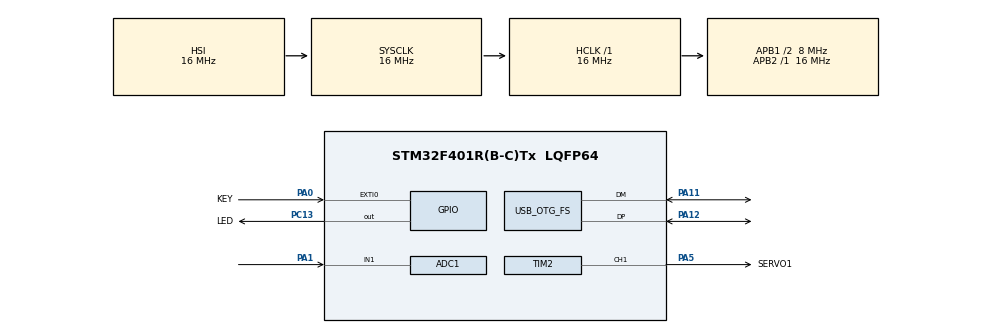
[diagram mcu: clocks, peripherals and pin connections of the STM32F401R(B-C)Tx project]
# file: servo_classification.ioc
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ADC1.Channel-1\#ChannelRegularConversion=ADC_CHANNEL_1
ADC1.ContinuousConvMode=ENABLE
ADC1.DMAContinuousRequests=ENABLE
ADC1.EOCSelection=ADC_EOC_SEQ_CONV
ADC1.InjNumberOfConversion=0
ADC1.NbrOfConversion=1
ADC1.NbrOfConversionFlag=1
ADC1.Rank-1\#ChannelRegularConversion=1
ADC1.SamplingTime-1\#ChannelRegularConversion=ADC_SAMPLETIME_15CYCLES
ADC1.ScanConvMode=DISABLE
ADC1.master=1
Dma.ADC1.0.Direction=DMA_PERIPH_TO_MEMORY
Dma.ADC1.0.FIFOMode=DMA_FIFOMODE_DISABLE
Dma.ADC1.0.Instance=DMA2_Stream0
Dma.ADC1.0.MemDataAlignment=DMA_MDATAALIGN_HALFWORD
Dma.ADC1.0.MemInc=DMA_MINC_ENABLE
Dma.ADC1.0.Mode=DMA_CIRCULAR
Dma.ADC1.0.PeriphDataAlignment=DMA_PDATAALIGN_HALFWORD
Dma.ADC1.0.PeriphInc=DMA_PINC_DISABLE
Dma.ADC1.0.Priority=DMA_PRIORITY_LOW
Dma.Request0=ADC1
Mcu.Family=STM32F4
Mcu.Name=STM32F401R(B-C)Tx
Mcu.Package=LQFP64
NVIC.ADC_IRQn=true\:0\:0\:false\:false\:true\:true\:true\:true
NVIC.DMA2_Stream0_IRQn=true\:0\:0\:false\:false\:true\:false\:true\:true
NVIC.EXTI0_IRQn=true\:0\:0\:false\:false\:true\:true\:true\:true
NVIC.OTG_FS_IRQn=true\:0\:0\:false\:false\:true\:false\:true\:true
NVIC.PriorityGroup=NVIC_PRIORITYGROUP_4
PA0-WKUP.GPIO_Label=KEY
PA0-WKUP.Signal=GPXTI0
PA1.Signal=ADCx_IN1
PA11.Mode=Device_Only
PA11.Signal=USB_OTG_FS_DM
PA12.Mode=Device_Only
PA12.Signal=USB_OTG_FS_DP
PA5.GPIO_Label=SERVO1
PA5.GPIO_Speed=GPIO_SPEED_FREQ_HIGH
PA5.Signal=S_TIM2_CH1_ETR
PC13-ANTI_TAMP.GPIO_Label=LED
PC13-ANTI_TAMP.PinState=GPIO_PIN_SET
PC13-ANTI_TAMP.Signal=GPIO_Output
PH0\ -\ OSC_IN.Mode=HSE-External-Oscillator
PH0\ -\ OSC_IN.Signal=RCC_OSC_IN
PH1\ -\ OSC_OUT.Mode=HSE-External-Oscillator
PH1\ -\ OSC_OUT.Signal=RCC_OSC_OUT
ProjectManager.HeapSize=0x200
ProjectManager.StackSize=0x400
ProjectManager.TargetToolchain=CMake
RCC.48MHZClocksFreq_Value=48000000
RCC.AHBFreq_Value=16000000
RCC.APB1CLKDivider=RCC_HCLK_DIV2
RCC.APB1Freq_Value=8000000
RCC.APB1TimFreq_Value=16000000
RCC.APB2Freq_Value=16000000
RCC.APB2TimFreq_Value=16000000
RCC.CortexFreq_Value=16000000
RCC.HCLKFreq_Value=16000000
RCC.HSE_VALUE=25000000
RCC.HSI_VALUE=16000000
RCC.LSE_VALUE=32768
RCC.PLLM=15
RCC.PLLN=144
RCC.PLLP=RCC_PLLP_DIV4
RCC.PLLQ=5
RCC.SYSCLKFreq_VALUE=16000000
RCC.VCOOutputFreq_Value=240000000
SH.ADCx_IN1.0=ADC1_IN1,IN1
SH.S_TIM2_CH1_ETR.0=TIM2_CH1,PWM Generation1 CH1
TIM2.AutoReloadPreload=TIM_AUTORELOAD_PRELOAD_ENABLE
TIM2.Channel-PWM\ Generation1\ CH1=TIM_CHANNEL_1
TIM2.Period=39999
TIM2.Pulse-PWM\ Generation1\ CH1=15999
USB_DEVICE.CLASS_NAME_FS=CDC
USB_DEVICE.VirtualMode=Cdc
USB_DEVICE.VirtualModeFS=Cdc_FS
USB_OTG_FS.Sof_enable=ENABLE
USB_OTG_FS.VirtualMode=Device_Only
VP_TIM2_VS_ClockSourceINT.Mode=Internal
VP_USB_DEVICE_VS_USB_DEVICE_CDC_FS.Mode=CDC_FS
board=custom

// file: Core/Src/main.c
/* USER CODE BEGIN Header */
/**
  ******************************************************************************
  * @file           : main.c
  * @brief          : Main program body
  ******************************************************************************
  * @attention
  *
  * Copyright (c) 2026 STMicroelectronics.
  * All rights reserved.
  *
  * This software is licensed under terms that can be found in the LICENSE file
  * in the root directory of this software component.
  * If no LICENSE file comes with this software, it is provided AS-IS.
  *
  ******************************************************************************
  */
/* USER CODE END Header */
#include "main.h"
#include "usb_device.h"

/* USER CODE BEGIN Includes */
#include "usbd_cdc_if.h"
#include <string.h>
/* USER CODE END Includes */

/* USER CODE BEGIN PM */
volatile uint8_t txBuf[1024];
volatile uint8_t rxBuf[1024];
volatile servo_t servo1;

volatile uint16_t ADC_VAL1[32];
volatile float Vin = 0;
/* USER CODE END PM */

ADC_HandleTypeDef hadc1;
DMA_HandleTypeDef hdma_adc1;

TIM_HandleTypeDef htim2;

/* USER CODE BEGIN PV */
static uint8_t msg[128];
/* USER CODE END PV */

void SystemClock_Config(void);
static void MX_GPIO_Init(void);
static void MX_DMA_Init(void);
static void MX_TIM2_Init(void);
static void MX_ADC1_Init(void);

int main(void)
{

  /* MCU Configuration--------------------------------------------------------*/

  /* Reset of all peripherals, Initializes the Flash interface and the Systick. */
  HAL_Init();

  /* Configure the system clock */
  SystemClock_Config();

  /* Initialize all configured peripherals */
  MX_GPIO_Init();
  MX_DMA_Init();
  MX_TIM2_Init();
  MX_USB_DEVICE_Init();
  MX_ADC1_Init();
  /* USER CODE BEGIN 2 */
  SERVO_Init(&servo1, &(TIM2->CCR1), SERVO_POLARITY_POS);
  SERVO_setpulse(&servo1, 0);

  HAL_ADC_Start_DMA(&hadc1, &ADC_VAL1, 32);

  HAL_TIM_PWM_Start(&htim2, TIM_CHANNEL_1);
  /* USER CODE END 2 */

  /* Infinite loop */
  /* USER CODE BEGIN WHILE */
  while (1)
  {
    if (rxBuf[0] != 0x00) {
      char c = rxBuf[0];
      rxBuf[0] = 0x00;
      switch (c) {
        case 'w':
          SERVO_setpulse(&servo1, servo1.pulse + 0.05);
          break;
        case 's':
          SERVO_setpulse(&servo1, servo1.pulse - 0.05);
          break;
        case 'u':
          SERVO_setpulse(&servo1, 0);
          memset(msg, 0x00, sizeof(msg));
          snprintf(msg, sizeof(msg), "\r\nStarting Step\r\n\04");
          CDC_Transmit_FS(msg, sizeof(msg));
          HAL_Delay(2000);
          SERVO_setpulse(&servo1, 0.6);
          HAL_GPIO_WritePin(LED_GPIO_Port, LED_Pin, 0);
          HAL_Delay(5000);
          HAL_GPIO_WritePin(LED_GPIO_Port, LED_Pin, 1);
          SERVO_setpulse(&servo1, -0.6);
          HAL_Delay(5000);
          SERVO_setpulse(&servo1, 0);
        default:
          break;
      }
      Vin = (ADC_VAL1[sizeof(ADC_VAL1)/sizeof(uint16_t) - __HAL_DMA_GET_COUNTER(&hdma_adc1)]/4096.0) * 8.25;
      snprintf(msg, sizeof(msg), "S1 PULSE ms: % 0.2f\tWIDTH ms: %.2f\t\tPOL: %d\t\tVin V: %.3f\t\t CCR: %d\r\n\04",
                                 servo1.pulse, servo1.width, servo1.polarity, Vin, *(servo1.timCCR));
      CDC_Transmit_FS(msg, sizeof(msg));
    }
    HAL_Delay(1);
    /* USER CODE END WHILE */

  }
}

void SystemClock_Config(void)
{
  RCC_OscInitTypeDef RCC_OscInitStruct = {0};
  RCC_ClkInitTypeDef RCC_ClkInitStruct = {0};

  /** Configure the main internal regulator output voltage
  */
  __HAL_RCC_PWR_CLK_ENABLE();
  __HAL_PWR_VOLTAGESCALING_CONFIG(PWR_REGULATOR_VOLTAGE_SCALE2);

  /** Initializes the RCC Oscillators according to the specified parameters
  * in the RCC_OscInitTypeDef structure.
  */
  RCC_OscInitStruct.OscillatorType = RCC_OSCILLATORTYPE_HSI|RCC_OSCILLATORTYPE_HSE;
  RCC_OscInitStruct.HSEState = RCC_HSE_ON;
  RCC_OscInitStruct.HSIState = RCC_HSI_ON;
  RCC_OscInitStruct.HSICalibrationValue = RCC_HSICALIBRATION_DEFAULT;
  RCC_OscInitStruct.PLL.PLLState = RCC_PLL_ON;
  RCC_OscInitStruct.PLL.PLLSource = RCC_PLLSOURCE_HSE;
  RCC_OscInitStruct.PLL.PLLM = 15;
  RCC_OscInitStruct.PLL.PLLN = 144;
  RCC_OscInitStruct.PLL.PLLP = RCC_PLLP_DIV4;
  RCC_OscInitStruct.PLL.PLLQ = 5;
  if (HAL_RCC_OscConfig(&RCC_OscInitStruct) != HAL_OK)
  {
    Error_Handler();
  }

  /** Initializes the CPU, AHB and APB buses clocks
  */
  RCC_ClkInitStruct.ClockType = RCC_CLOCKTYPE_HCLK|RCC_CLOCKTYPE_SYSCLK
                              |RCC_CLOCKTYPE_PCLK1|RCC_CLOCKTYPE_PCLK2;
  RCC_ClkInitStruct.SYSCLKSource = RCC_SYSCLKSOURCE_HSI;
  RCC_ClkInitStruct.AHBCLKDivider = RCC_SYSCLK_DIV1;
  RCC_ClkInitStruct.APB1CLKDivider = RCC_HCLK_DIV2;
  RCC_ClkInitStruct.APB2CLKDivider = RCC_HCLK_DIV1;

  if (HAL_RCC_ClockConfig(&RCC_ClkInitStruct, FLASH_LATENCY_0) != HAL_OK)
  {
    Error_Handler();
  }
}

static void MX_ADC1_Init(void)
{

  ADC_ChannelConfTypeDef sConfig = {0};

  /** Configure the global features of the ADC (Clock, Resolution, Data Alignment and number of conversion)
  */
  hadc1.Instance = ADC1;
  hadc1.Init.ClockPrescaler = ADC_CLOCK_SYNC_PCLK_DIV2;
  hadc1.Init.Resolution = ADC_RESOLUTION_12B;
  hadc1.Init.ScanConvMode = DISABLE;
  hadc1.Init.ContinuousConvMode = ENABLE;
  hadc1.Init.DiscontinuousConvMode = DISABLE;
  hadc1.Init.ExternalTrigConvEdge = ADC_EXTERNALTRIGCONVEDGE_NONE;
  hadc1.Init.ExternalTrigConv = ADC_SOFTWARE_START;
  hadc1.Init.DataAlign = ADC_DATAALIGN_RIGHT;
  hadc1.Init.NbrOfConversion = 1;
  hadc1.Init.DMAContinuousRequests = ENABLE;
  hadc1.Init.EOCSelection = ADC_EOC_SEQ_CONV;
  if (HAL_ADC_Init(&hadc1) != HAL_OK)
  {
    Error_Handler();
  }

  /** Configure for the selected ADC regular channel its corresponding rank in the sequencer and its sample time.
  */
  sConfig.Channel = ADC_CHANNEL_1;
  sConfig.Rank = 1;
  sConfig.SamplingTime = ADC_SAMPLETIME_15CYCLES;
  if (HAL_ADC_ConfigChannel(&hadc1, &sConfig) != HAL_OK)
  {
    Error_Handler();
  }

}

static void MX_TIM2_Init(void)
{

  TIM_ClockConfigTypeDef sClockSourceConfig = {0};
  TIM_MasterConfigTypeDef sMasterConfig = {0};
  TIM_OC_InitTypeDef sConfigOC = {0};

  htim2.Instance = TIM2;
  htim2.Init.Prescaler = 0;
  htim2.Init.CounterMode = TIM_COUNTERMODE_UP;
  htim2.Init.Period = 39999;
  htim2.Init.ClockDivision = TIM_CLOCKDIVISION_DIV1;
  htim2.Init.AutoReloadPreload = TIM_AUTORELOAD_PRELOAD_ENABLE;
  if (HAL_TIM_Base_Init(&htim2) != HAL_OK)
  {
    Error_Handler();
  }
  sClockSourceConfig.ClockSource = TIM_CLOCKSOURCE_INTERNAL;
  if (HAL_TIM_ConfigClockSource(&htim2, &sClockSourceConfig) != HAL_OK)
  {
    Error_Handler();
  }
  if (HAL_TIM_PWM_Init(&htim2) != HAL_OK)
  {
    Error_Handler();
  }
  sMasterConfig.MasterOutputTrigger = TIM_TRGO_RESET;
  sMasterConfig.MasterSlaveMode = TIM_MASTERSLAVEMODE_DISABLE;
  if (HAL_TIMEx_MasterConfigSynchronization(&htim2, &sMasterConfig) != HAL_OK)
  {
    Error_Handler();
  }
  sConfigOC.OCMode = TIM_OCMODE_PWM1;
  sConfigOC.Pulse = 15999;
  sConfigOC.OCPolarity = TIM_OCPOLARITY_HIGH;
  sConfigOC.OCFastMode = TIM_OCFAST_DISABLE;
  if (HAL_TIM_PWM_ConfigChannel(&htim2, &sConfigOC, TIM_CHANNEL_1) != HAL_OK)
  {
    Error_Handler();
  }
  HAL_TIM_MspPostInit(&htim2);

}

static void MX_DMA_Init(void)
{

  /* DMA controller clock enable */
  __HAL_RCC_DMA2_CLK_ENABLE();

  /* DMA interrupt init */
  /* DMA2_Stream0_IRQn interrupt configuration */
  HAL_NVIC_SetPriority(DMA2_Stream0_IRQn, 0, 0);
  HAL_NVIC_EnableIRQ(DMA2_Stream0_IRQn);

}

static void MX_GPIO_Init(void)
{
  GPIO_InitTypeDef GPIO_InitStruct = {0};

  /* GPIO Ports Clock Enable */
  __HAL_RCC_GPIOC_CLK_ENABLE();
  __HAL_RCC_GPIOH_CLK_ENABLE();
  __HAL_RCC_GPIOA_CLK_ENABLE();

  /*Configure GPIO pin Output Level */
  HAL_GPIO_WritePin(LED_GPIO_Port, LED_Pin, GPIO_PIN_SET);

  /*Configure GPIO pin : LED_Pin */
  GPIO_InitStruct.Pin = LED_Pin;
  GPIO_InitStruct.Mode = GPIO_MODE_OUTPUT_PP;
  GPIO_InitStruct.Pull = GPIO_NOPULL;
  GPIO_InitStruct.Speed = GPIO_SPEED_FREQ_LOW;
  HAL_GPIO_Init(LED_GPIO_Port, &GPIO_InitStruct);

  /*Configure GPIO pin : KEY_Pin */
  GPIO_InitStruct.Pin = KEY_Pin;
  GPIO_InitStruct.Mode = GPIO_MODE_IT_RISING;
  GPIO_InitStruct.Pull = GPIO_NOPULL;
  HAL_GPIO_Init(KEY_GPIO_Port, &GPIO_InitStruct);

  /* EXTI interrupt init*/
  HAL_NVIC_SetPriority(EXTI0_IRQn, 0, 0);
  HAL_NVIC_EnableIRQ(EXTI0_IRQn);

}

void Error_Handler(void)
{
  __disable_irq();
  while (1)
  {
  }
}
